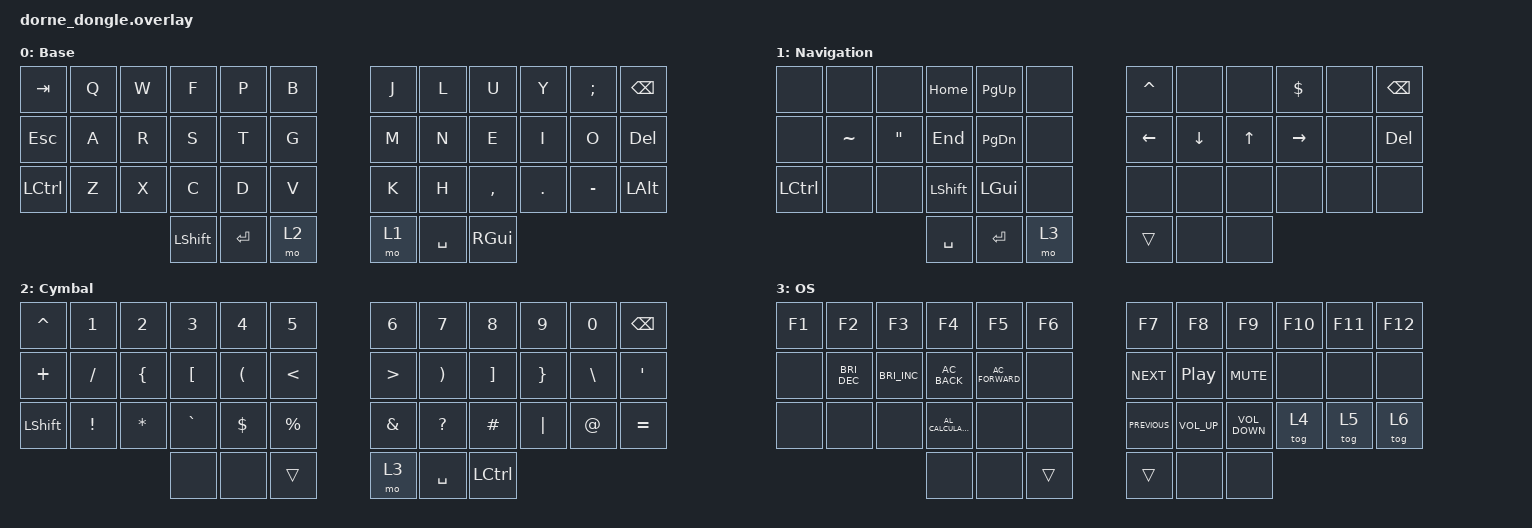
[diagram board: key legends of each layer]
#include <dt-bindings/zmk/matrix_transform.h>
#include <behaviors.dtsi>
#include <dt-bindings/zmk/keys.h>
#include <dt-bindings/zmk/bt.h>
#include <dt-bindings/zmk/matrix_transform.h>


/ {
    chosen {
        zmk,kscan = &mock_kscan;
        zmk,physical-layout = &physical_layout0;
    };

    physical_layout0: physical_layout_0 {
        compatible = "zmk,physical-layout";
        display-name = "Default Layout";
        transform = <&dactyl_transform>;
    };

    mock_kscan: mock_kscan_0 {
        compatible = "zmk,kscan-mock";
        columns = <0>;
        rows = <0>;
        events = <0>;
    };

    dactyl_transform: matrix_transform {
        compatible = "zmk,matrix-transform";
        columns = <12>;
        rows = <4>;
        map = <
          RC(0,0) RC(0,1) RC(0,2) RC(0,3) RC(0,4) RC(0,5)  RC(0,11) RC(0,10) RC(0,9) RC(0,8) RC(0,7) RC(0,6)
          RC(1,0) RC(1,1) RC(1,2) RC(1,3) RC(1,4) RC(1,5)  RC(1,11) RC(1,10) RC(1,9) RC(1,8) RC(1,7) RC(1,6)
          RC(2,0) RC(2,1) RC(2,2) RC(2,3) RC(2,4) RC(2,5)  RC(2,11) RC(2,10) RC(2,9) RC(2,8) RC(2,7) RC(2,6)
                                  RC(3,3) RC(3,4) RC(3,1)  RC(3,7)  RC(3,10) RC(3,9)
        >;
    };

    keymap {
      compatible = "zmk,keymap";
      default_layer { // Layer 0
          display-name = "Base";
          bindings = <
            &kp TAB          &kp Q &kp W &kp F          &kp P     &kp B &kp J &kp L     &kp U         &kp Y   &kp SEMICOLON &kp BACKSPACE
            &kp ESCAPE       &kp A &kp R &kp S          &kp T     &kp G &kp M &kp N     &kp E         &kp I   &kp O         &kp DELETE
            &kp LEFT_CONTROL &kp Z &kp X &kp C          &kp D     &kp V &kp K &kp H     &kp COMMA     &kp DOT &kp MINUS     &kp LEFT_ALT
                                         &kp LEFT_SHIFT &kp ENTER &mo 2 &mo 1 &kp SPACE &kp RIGHT_GUI
          >;
        };

      navigation { // Layer 1
          display-name = "Navigation";
          bindings = <
            &none            &none     &none             &kp HOME       &kp PAGE_UP   &none &kp CARET &none    &none  &kp DOLLAR &none &kp BACKSPACE
            &none            &kp TILDE &kp DOUBLE_QUOTES &kp END        &kp PAGE_DOWN &none &kp LEFT  &kp DOWN &kp UP &kp RIGHT  &none &kp DELETE
            &kp LEFT_CONTROL &none     &none             &kp LEFT_SHIFT &kp LEFT_GUI  &none &none     &none    &none  &none      &none &none
                                                         &kp SPACE      &kp ENTER     &mo 3 &trans    &none    &none
          >;
        };

      symbol { // Layer 2
          display-name = "Cymbal";
          bindings = <
            &kp CARET      &kp N1    &kp N2         &kp N3           &kp N4               &kp N5      &kp N6   &kp N7                &kp N8            &kp N9          &kp N0        &kp BACKSPACE
            &kp PLUS       &kp SLASH &kp LEFT_BRACE &kp LEFT_BRACKET &kp LEFT_PARENTHESIS &kp LT      &kp GT   &kp RIGHT_PARENTHESIS &kp RIGHT_BRACKET &kp RIGHT_BRACE &kp BACKSLASH &kp SINGLE_QUOTE
            &kp LEFT_SHIFT &kp EXCL  &kp ASTRK      &kp GRAVE        &kp DOLLAR           &kp PERCENT &kp AMPS &kp QUESTION          &kp HASH          &kp PIPE        &kp AT        &kp EQUAL
                                                    &none            &none                &trans      &mo 3    &kp SPACE             &kp LEFT_CONTROL
          >;
        };

      os { // Layer 3
          display-name = "OS";
          bindings = <
            &kp F1 &kp F2               &kp F3               &kp F4              &kp F5           &kp F6 &kp F7         &kp F8           &kp F9            &kp F10 &kp F11 &kp F12
            &none  &kp C_BRIGHTNESS_DEC &kp C_BRIGHTNESS_INC &kp C_AC_BACK       &kp C_AC_FORWARD &none  &kp C_NEXT     &kp C_PLAY_PAUSE &kp C_MUTE        &none   &none   &none
            &none  &none                &none                &kp C_AL_CALCULATOR &none            &none  &kp C_PREVIOUS &kp C_VOLUME_UP  &kp C_VOLUME_DOWN &tog 4  &tog 5  &tog 6
                                                             &none               &none            &trans &trans         &none            &none
          >;
        };

      //qwerty { // Layer 4
      //    display-name = "QWERTY";
      //    bindings = <
      //      &kp ESCAPE       &kp Q &kp W &kp E          &kp R     &kp T &kp Y &kp U     &kp I        &kp O   &kp P         &kp BACKSPACE
      //      &kp TAB          &kp A &kp S &kp D          &kp F     &kp G &kp H &kp J     &kp K        &kp L   &kp SEMICOLON &to 0
      //      &kp LEFT_CONTROL &kp Z &kp X &kp C          &kp V     &kp B &kp N &kp M     &kp COMMA    &kp DOT &kp SLASH     &kp LEFT_ALT
      //                                   &kp LEFT_SHIFT &kp ENTER &mo 2 &mo 1 &kp SPACE &kp LEFT_GUI
      //    >;
      //  };
    };
};
